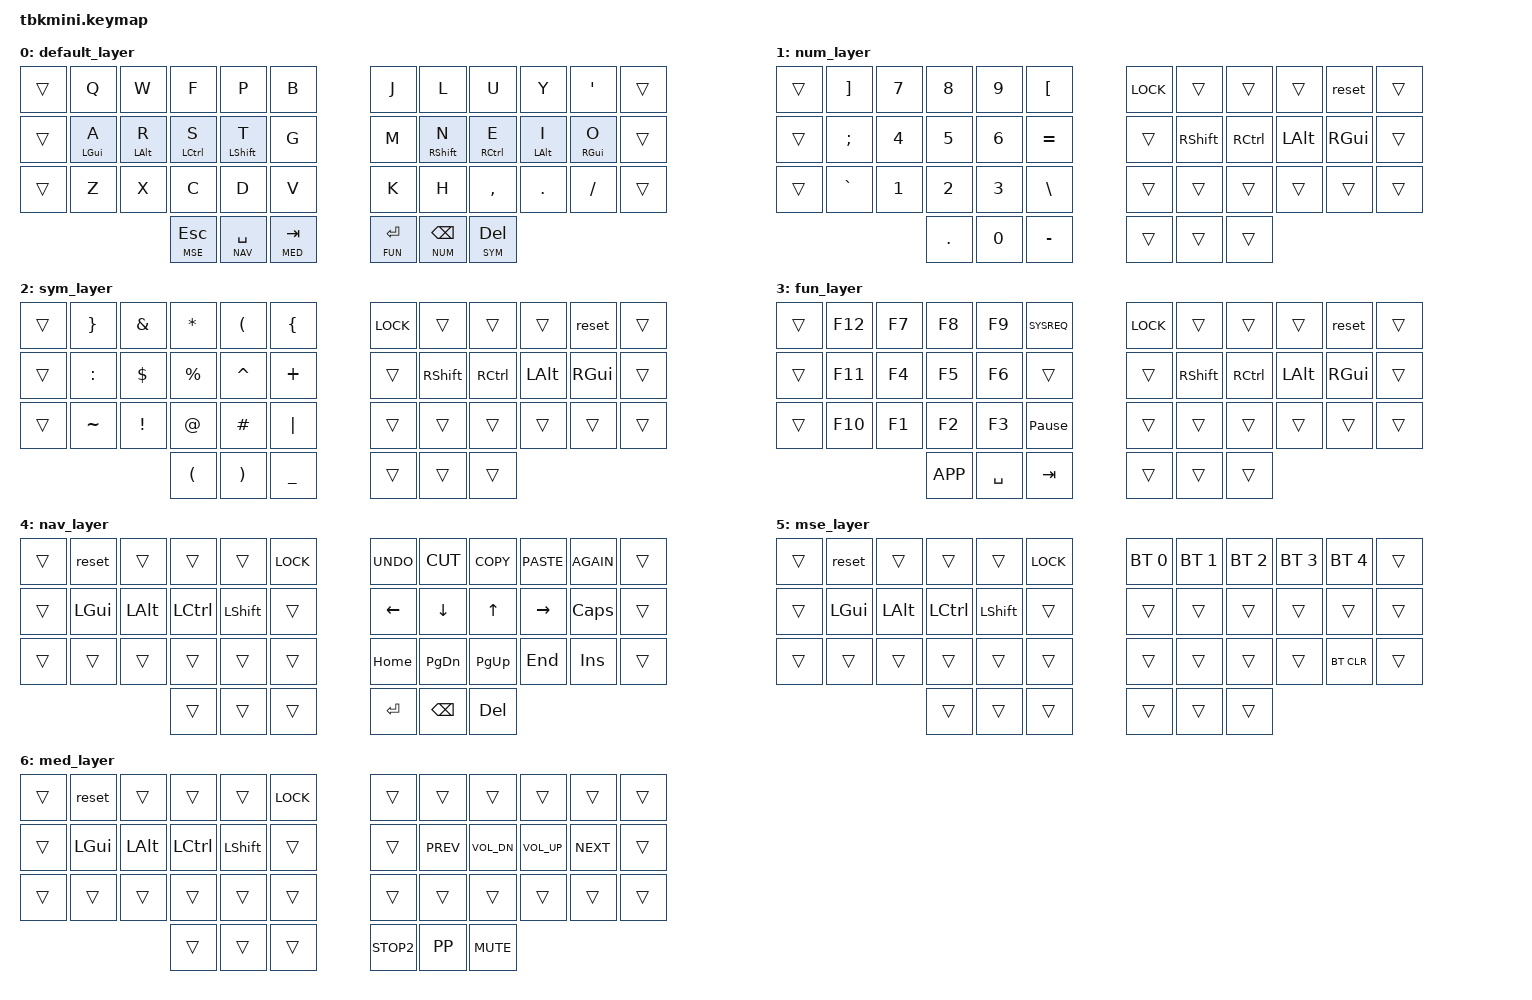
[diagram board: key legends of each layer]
#include <behaviors.dtsi>
#include <dt-bindings/zmk/keys.h>
#include <dt-bindings/zmk/bt.h>

#define DEFAULT 0
#define NUM 1
#define SYM 2
#define FUN 3
#define NAV 4
#define MSE 5
#define MED 6

/ {
  behaviors {
      hm: homerow_mods {
          compatible = "zmk,behavior-hold-tap";
          label = "HOMEROW_MODS";
          #binding-cells = <2>;
          tapping-term-ms = <150>;
          quick_tap_ms = <0>;
          flavor = "tap-preferred";
          bindings = <&kp>, <&kp>;
        };
      lm: layertap_mods {
          compatible = "zmk,behavior-hold-tap";
          label = "LAYERTAP_MODS";
          #binding-cells = <2>;
          tapping-term-ms = <150>;
          quick_tap_ms = <50>;
          flavor = "hold-preferred";
          bindings = <&kp>, <&kp>;
        };
    };
  keymap {
        compatible = "zmk,keymap";

        default_layer {
            bindings = <
	&trans &kp Q      &kp W      &kp F       &kp P        &kp B          &kp J &kp L        &kp U       &kp Y      &kp SQT    &trans
	&trans &hm LGUI A &hm LALT R &hm LCTRL S &hm LSHFT T &kp G          &kp M &hm RSHFT N &hm RCTRL E &hm LALT I &hm RGUI O &trans
	&trans &kp Z      &kp X      &kp C       &kp D        &kp V          &kp K &kp H        &kp COMMA   &kp DOT    &kp FSLH   &trans
	                  &lm MSE ESC   &lm NAV SPACE   &lm MED TAB              &lm FUN RET  &lm NUM BSPC  &lm SYM DEL
            >;
        };
        num_layer {
            bindings = <
	&trans &kp RBKT  &kp N7 &kp N8 &kp N9 &kp LBKT        &kp K_LOCK &trans  &trans     &trans   &reset  &trans
	&trans &kp SEMI  &kp N4 &kp N5 &kp N6 &kp EQUAL       &trans &kp RSHFT  &kp RCTRL  &kp LALT  &kp RGUI  &trans
	&trans &kp GRAVE &kp N1 &kp N2 &kp N3 &kp BSLH        &trans &trans  &trans &trans &trans &trans
	                  &kp DOT   &kp N0   &kp MINUS        &trans &trans &trans
            >;
        };
        sym_layer {
            bindings = <
	&trans &kp RBRC  &kp AMPS &kp STAR  &kp LPAR  &kp LBRC        &kp K_LOCK &trans  &trans     &trans   &reset  &trans
	&trans &kp COLON &kp DLLR &kp PRCNT &kp CARET &kp PLUS        &trans &kp RSHFT  &kp RCTRL  &kp LALT  &kp RGUI  &trans
	&trans &kp TILDE &kp EXCL &kp AT    &kp HASH  &kp PIPE        &trans &trans  &trans &trans &trans &trans
	                  &kp LPAR  &kp RPAR   &kp UNDER              &trans &trans &trans
            >;
        };
        fun_layer {
            bindings = <
	&trans &kp F12 &kp F7 &kp F8 &kp F9 &kp SYSREQ        &kp K_LOCK &trans  &trans     &trans   &reset  &trans
	&trans &kp F11 &kp F4 &kp F5 &kp F6 &trans            &trans &kp RSHFT  &kp RCTRL  &kp LALT  &kp RGUI  &trans
	&trans &kp F10 &kp F1 &kp F2 &kp F3 &kp PAUSE_BREAK   &trans &trans  &trans &trans &trans &trans
	                  &kp K_APP   &kp SPACE   &kp TAB     &trans &trans &trans
            >;
        };
        nav_layer {
            bindings = <
	&trans &reset   &trans   &trans    &trans     &kp K_LOCK   &kp K_UNDO &kp K_CUT &kp K_COPY &kp K_PASTE &kp K_AGAIN &trans
	&trans &kp LGUI &kp LALT &kp LCTRL &kp LSHFT &trans       &kp LEFT   &kp DOWN  &kp UP     &kp RIGHT   &kp CAPS    &trans
	&trans &trans   &trans   &trans    &trans     &trans       &kp HOME   &kp PG_DN &kp PG_UP  &kp END     &kp INS     &trans
	                  &trans   &trans   &trans                 &kp RET &kp BSPC &kp DEL
            >;
        };
        mse_layer {
            bindings = <
	&trans &reset   &trans   &trans    &trans     &kp K_LOCK   &bt BT_SEL 0 &bt BT_SEL 1 &bt BT_SEL 2 &bt BT_SEL 3 &bt BT_SEL 4 &trans
	&trans &kp LGUI &kp LALT &kp LCTRL &kp LSHFT &trans       &trans &trans &trans &trans &trans &trans
	&trans &trans   &trans   &trans    &trans     &trans       &trans &trans &trans &trans &bt BT_CLR &trans
	                  &trans   &trans   &trans                 &trans &trans &trans
            >;
        };
        med_layer {
            bindings = <
	&trans &reset   &trans   &trans    &trans     &kp K_LOCK   &trans &trans     &trans       &trans       &trans     &trans
	&trans &kp LGUI &kp LALT &kp LCTRL &kp LSHFT &trans       &trans &kp K_PREV &kp K_VOL_DN &kp K_VOL_UP &kp K_NEXT &trans
	&trans &trans   &trans   &trans    &trans     &trans       &trans &trans     &trans       &trans       &trans     &trans
	                  &trans   &trans   &trans                 &kp K_STOP2 &kp K_PP &kp K_MUTE
            >;
        };
    };
};

